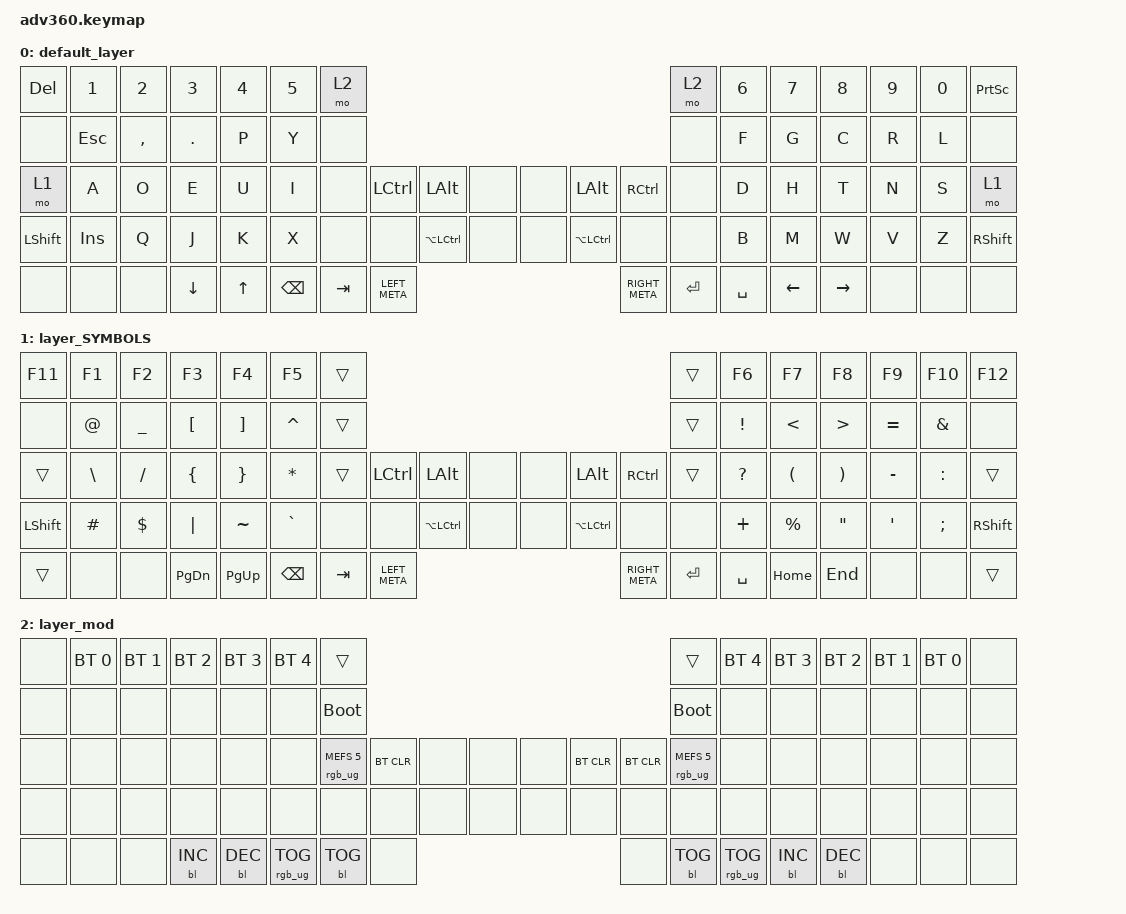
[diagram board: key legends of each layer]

/*
 * Copyright (c) 2020 The ZMK Contributors
 *
 * SPDX-License-Identifier: MIT
 */


/* THIS FILE WAS GENERATED!
 *
 * This file was generated automatically. You may or may not want to
 * edit it directly.
 */

#include <behaviors.dtsi>
#include <dt-bindings/zmk/keys.h>
#include <dt-bindings/zmk/bt.h>
#include <dt-bindings/zmk/rgb.h>
#include <dt-bindings/zmk/backlight.h>

/ {
  behaviors {
    #include "macros.dtsi"

    hm: homerow_mods {
        compatible = "zmk,behavior-hold-tap";
        label = "HOMEROW_MODS";
        #binding-cells = <2>;
        tapping-term-ms = <200>;
        quick_tap_ms = <175>;
        flavor = "tap-preferred";
        bindings = <&kp>, <&kp>;
    };
  };

    keymap {
        compatible = "zmk,keymap";


        default_layer {
            bindings = <
 &kp DELETE      &kp N1     &kp N2      &kp N3  &kp N4  &kp N5               &mo 2                                                                                  &mo 2  &kp N6    &kp N7     &kp N8  &kp N9  &kp N0  &kp PRINTSCREEN
      &none     &kp ESC  &kp COMMA  &kp PERIOD   &kp P   &kp Y               &none                                                                                  &none   &kp F     &kp G      &kp C   &kp R   &kp L            &none
      &mo 1       &kp A      &kp O       &kp E   &kp U   &kp I               &none  &kp LCTRL           &kp LALT   &none   &none           &kp LALT  &kp RCTRL      &none   &kp D     &kp H      &kp T   &kp N   &kp S            &mo 1
  &kp LSHFT  &kp INSERT      &kp Q       &kp J   &kp K   &kp X               &none      &none      &kp LA(LCTRL)   &none   &none     &kp LA(LCTRL)       &none      &none   &kp B     &kp M      &kp W   &kp V   &kp Z        &kp RSHFT
      &none       &none      &none    &kp DOWN  &kp UP                    &kp BSPC    &kp TAB      &kp LEFT_META                     &kp RIGHT_META  &kp ENTER  &kp SPACE          &kp LEFT  &kp RIGHT   &none   &none            &none
            >;
        };

        layer_SYMBOLS {
            bindings = <
   &kp F11         &kp F1          &kp F2            &kp F3             &kp F4        &kp F5              &trans                                                                                 &trans           &kp F6                &kp F7                 &kp F8            &kp F9        &kp F10    &kp F12
     &none    &kp AT_SIGN  &kp UNDERSCORE  &kp LEFT_BRACKET  &kp RIGHT_BRACKET     &kp CARET              &trans                                                                                 &trans  &kp EXCLAMATION         &kp LESS_THAN       &kp GREATER_THAN         &kp EQUAL  &kp AMPERSAND      &none
    &trans  &kp BACKSLASH       &kp SLASH    &kp LEFT_BRACE    &kp RIGHT_BRACE  &kp ASTERISK              &trans  &kp LCTRL           &kp LALT   &none   &none           &kp LALT  &kp RCTRL     &trans     &kp QUESTION  &kp LEFT_PARENTHESIS  &kp RIGHT_PARENTHESIS         &kp MINUS      &kp COLON     &trans
 &kp LSHFT       &kp HASH      &kp DOLLAR          &kp PIPE          &kp TILDE     &kp GRAVE               &none      &none      &kp LA(LCTRL)   &none   &none     &kp LA(LCTRL)       &none      &none         &kp PLUS           &kp PERCENT      &kp DOUBLE_QUOTES  &kp SINGLE_QUOTE  &kp SEMICOLON  &kp RSHFT
    &trans          &none           &none     &kp PAGE_DOWN        &kp PAGE_UP                          &kp BSPC    &kp TAB      &kp LEFT_META                     &kp RIGHT_META  &kp ENTER  &kp SPACE                               &kp HOME                &kp END             &none          &none     &trans
            >;
        };

        layer_mod {
            bindings = <
  &none  &bt BT_SEL 0  &bt BT_SEL 1  &bt BT_SEL 2  &bt BT_SEL 3  &bt BT_SEL 4                            &trans                                                                              &trans  &bt BT_SEL 4  &bt BT_SEL 3  &bt BT_SEL 2  &bt BT_SEL 1  &bt BT_SEL 0   &none
  &none         &none         &none         &none         &none         &none                       &bootloader                                                                         &bootloader         &none         &none         &none         &none         &none   &none
  &none         &none         &none         &none         &none         &none            &rgb_ug RGB_MEFS_CMD 5  &bt BT_CLR   &none   &none   &none  &bt BT_CLR  &bt BT_CLR  &rgb_ug RGB_MEFS_CMD 5         &none         &none         &none         &none         &none   &none
  &none         &none         &none         &none         &none         &none                             &none       &none   &none   &none   &none       &none       &none                   &none         &none         &none         &none         &none         &none   &none
  &none         &none         &none    &bl BL_INC    &bl BL_DEC                                 &rgb_ug RGB_TOG  &bl BL_TOG   &none                       &none  &bl BL_TOG         &rgb_ug RGB_TOG                  &bl BL_INC    &bl BL_DEC         &none         &none   &none
            >;
        };

    };
};
